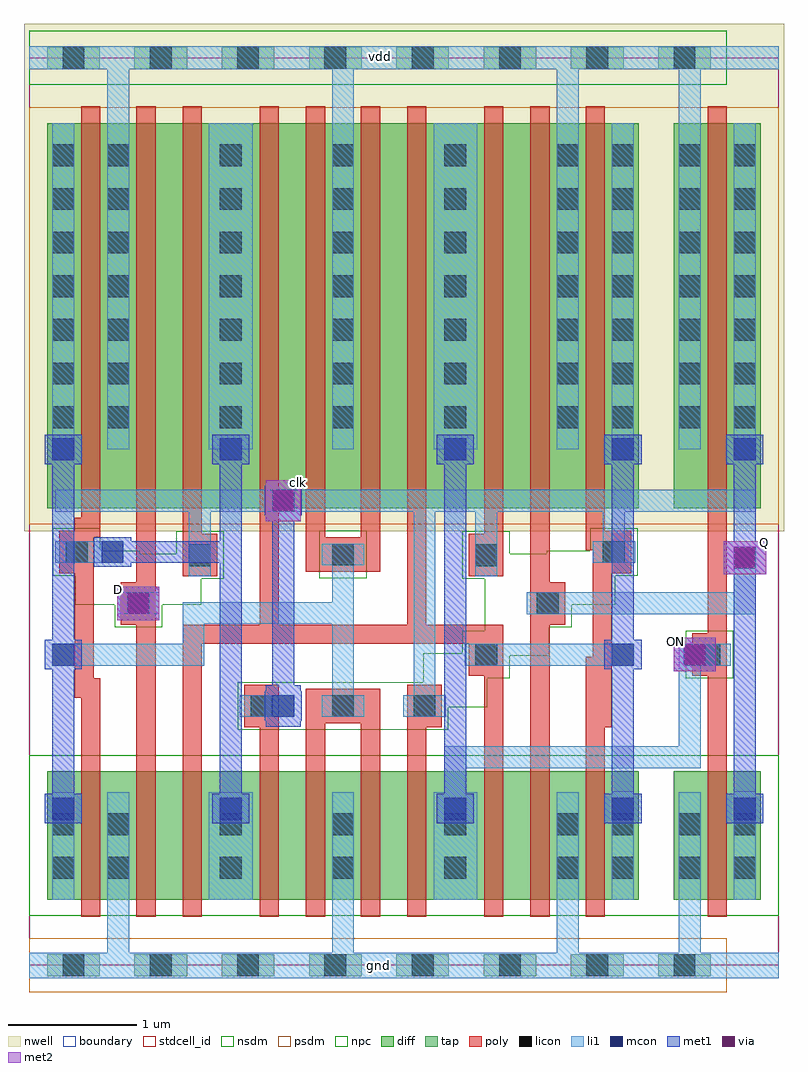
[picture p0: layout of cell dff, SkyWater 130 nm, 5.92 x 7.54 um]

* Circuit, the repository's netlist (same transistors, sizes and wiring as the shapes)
* SPICE3 file created from dff.ext - technology: EFS8A

.subckt dff D Q clk vdd gnd
M1000 a_511_725# a_n8_115# vdd vdd pshort W=3 L=0.15
M1001 a_353_115# clk a_11_624# gnd nshort W=1 L=0.15
M1002 a_353_725# a_203_89# a_11_624# vdd pshort W=3 L=0.15
M1003 a_11_624# a_203_89# a_161_115# gnd nshort W=1 L=0.15
M1004 a_11_624# clk a_161_725# vdd pshort W=3 L=0.15
M1005 gnd Q a_703_115# gnd nshort W=1 L=0.15
M1006 vdd Q a_703_725# vdd pshort W=3 L=0.15
M1007 a_203_89# clk gnd gnd nshort W=1 L=0.15
M1008 a_203_89# clk vdd vdd pshort W=3 L=0.15
M1009 a_161_115# D gnd gnd nshort W=1 L=0.15
M1010 a_161_725# D vdd vdd pshort W=3 L=0.15
M1011 gnd a_11_624# a_n8_115# gnd nshort W=1 L=0.15
M1012 a_703_115# a_203_89# ON gnd nshort W=1 L=0.15
M1013 vdd a_11_624# a_n8_115# vdd pshort W=3 L=0.15
M1014 a_703_725# clk ON vdd pshort W=3 L=0.15
M1015 Q ON vdd vdd pshort W=3 L=0.15
M1016 Q ON gnd gnd nshort W=1 L=0.15
M1017 ON a_203_89# a_511_725# vdd pshort W=3 L=0.15
M1018 ON clk a_511_115# gnd nshort W=1 L=0.15
M1019 gnd a_n8_115# a_353_115# gnd nshort W=1 L=0.15
M1020 vdd a_n8_115# a_353_725# vdd pshort W=3 L=0.15
M1021 a_511_115# a_n8_115# gnd gnd nshort W=1 L=0.15
.ends

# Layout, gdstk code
import gdstk
lib = gdstk.Library(unit=1e-6, precision=1e-09)
def R(c, l, rs):  # rectangles x0, y0, x1, y1
    for r in rs: c.add(gdstk.rectangle(r[:2], r[2:], *l))
def A(c, l, x, y, w, h, nx, ny, dx, dy):  # array of equal rectangles
    R(c, l, [(x+i*dx, y+j*dy, x+i*dx+w, y+j*dy+h) for i in range(nx) for j in range(ny)])
nwell = (64, 20)
diff = (65, 20)
tap = (65, 44)
poly = (66, 20)
licon = (66, 44)
li1 = (67, 20)
mcon = (67, 44)
met1 = (68, 20)
via = (68, 44)
met2 = (69, 20)
stdcell_id = (81, 4)
nsdm = (93, 44)
psdm = (94, 20)
npc = (95, 20)
boundary = (235, 4)

dff = lib.new_cell('dff')
R(dff, nwell, [(-0.04,3.38,5.88,7.335)])
R(dff, diff, [(0.14,0.51,4.75,1.51), (5.02,0.51,5.7,1.51), (0.14,3.56,4.75,6.56), (5.02,3.56,5.7,6.56)])
A(dff, tap, 0.14, -0.085, 0.41, 0.17, 8, 2, 0.68, 7.07)
R(dff, poly, [(0.405,0.38,0.555,2.085), (0.835,0.38,0.985,2.655), (1.195,0.38,1.345,2.505), (1.795,0.38,1.945,1.855), (2.155,0.38,2.305,1.885), (2.585,0.38,2.735,1.885), (2.945,0.38,3.095,1.855), (3.545,0.38,3.695,2.255), (3.905,0.38,4.055,2.655), (4.335,0.38,4.485,1.855), (5.285,0.38,5.435,2.255), (1.675,1.855,1.945,2.185), (2.945,1.855,3.215,2.185), (4.335,1.855,4.54,2.405), (2.155,1.885,2.735,2.155), (0.355,2.085,0.555,2.235), (0.355,2.235,0.505,3.055), (3.425,2.255,3.695,2.505), (5.165,2.255,5.435,2.585), (4.39,2.405,4.54,3.055), (1.195,2.505,3.695,2.655), (5.285,2.585,5.435,6.69), (0.715,2.655,0.985,2.985), (1.795,2.655,1.945,6.69), (2.945,2.655,3.095,6.69), (3.905,2.655,4.175,2.985), (0.835,2.985,0.985,6.69), (3.905,2.985,4.055,6.69), (1.195,3.03,1.465,3.36), (3.425,3.03,3.695,3.36), (0.235,3.055,0.505,3.335), (4.39,3.055,4.69,3.235), (2.155,3.065,2.735,3.335), (4.335,3.235,4.69,3.385), (0.235,3.335,0.555,3.385), (2.155,3.335,2.305,6.69), (2.585,3.335,2.735,6.69), (1.195,3.36,1.345,6.69), (3.545,3.36,3.695,6.69), (0.35,3.385,0.555,3.485), (4.335,3.385,4.485,6.69), (0.405,3.485,0.555,6.69)])
A(dff, licon, 0.26, -0.085, 0.17, 0.17, 8, 2, 0.68, 7.07)
A(dff, licon, 0.61, 0.675, 0.17, 0.17, 5, 2, 0.875, 0.34)
A(dff, licon, 1.725, 1.935, 0.17, 0.17, 3, 1, 0.635, 0)
A(dff, licon, 0.18, 4.185, 0.17, 0.17, 1, 7, 0, 0.34)
A(dff, licon, 0.61, 4.185, 0.17, 0.17, 5, 7, 0.875, 0.34)
A(dff, licon, 4.54, 4.185, 0.17, 0.17, 1, 7, 0, 0.34)
A(dff, licon, 5.06, 4.185, 0.17, 0.17, 1, 7, 0, 0.34)
A(dff, licon, 5.49, 4.185, 0.17, 0.17, 1, 7, 0, 0.34)
R(dff, licon, [(0.18,0.675,0.35,0.845), (4.54,0.675,4.71,0.845), (5.06,0.675,5.23,0.845), (5.49,0.675,5.66,0.845), (0.18,1.015,0.35,1.185), (4.54,1.015,4.71,1.185), (5.06,1.015,5.23,1.185), (5.49,1.015,5.66,1.185), (3.475,2.335,3.645,2.505), (5.215,2.335,5.385,2.505), (0.765,2.735,0.935,2.905), (3.955,2.735,4.125,2.905), (1.245,3.11,1.415,3.28), (3.475,3.11,3.645,3.28), (2.36,3.115,2.53,3.285), (0.285,3.135,0.455,3.305), (4.47,3.135,4.64,3.305)])
A(dff, li1, 0.61, 0.1, 0.17, 1.25, 3, 1, 1.75, 0)
A(dff, li1, 0.61, 4.02, 0.17, 2.96, 3, 1, 1.75, 0)
R(dff, li1, [(0,-0.1,5.84,0.1), (5.06,0.1,5.23,1.35), (0.18,0.51,0.35,1.35), (1.4,0.51,1.74,1.35), (3.15,0.51,3.49,1.35), (4.54,0.51,4.71,1.355), (5.49,0.51,5.66,1.355), (3.235,1.35,3.405,1.535), (3.235,1.535,5.23,1.705), (5.06,1.705,5.23,2.335), (1.64,1.935,2.065,2.105), (2.28,1.935,2.61,2.105), (2.915,1.935,3.245,2.105), (2.36,2.105,2.53,2.66), (2.995,2.105,3.165,3.535), (0.18,2.335,1.365,2.505), (3.395,2.335,4.71,2.505), (5.06,2.335,5.465,2.505), (1.195,2.505,1.365,2.66), (1.195,2.66,2.53,2.83), (0.685,2.735,1.015,2.905), (3.875,2.735,5.66,2.905), (2.36,2.83,2.53,3.115), (5.49,2.905,5.66,3.26), (1.245,3.03,1.415,3.535), (3.475,3.03,3.645,3.535), (2.28,3.115,2.61,3.285), (0.205,3.135,0.735,3.305), (4.39,3.135,4.72,3.305), (4.47,3.305,4.64,3.535), (0.205,3.535,5.66,3.705), (0.18,3.935,0.35,6.56), (1.485,3.935,1.655,4.02), (3.235,3.935,3.405,4.02), (4.54,3.935,4.71,6.56), (5.49,3.935,5.66,6.56), (1.4,4.02,1.74,6.56), (3.15,4.02,3.49,6.56), (5.06,4.02,5.23,6.98), (0,6.98,5.84,7.16)])
R(dff, mcon, [(0.18,1.135,0.35,1.305), (1.485,1.135,1.655,1.305), (3.235,1.135,3.405,1.305), (4.54,1.135,4.71,1.305), (5.49,1.135,5.66,1.305), (1.895,1.935,2.065,2.105), (0.18,2.335,0.35,2.505), (4.54,2.335,4.71,2.505), (5.1,2.335,5.27,2.505), (0.765,2.735,0.935,2.905), (5.49,3.09,5.66,3.26), (0.565,3.135,0.735,3.305), (1.895,3.535,2.065,3.705), (0.18,3.935,0.35,4.105), (1.485,3.935,1.655,4.105), (3.235,3.935,3.405,4.105), (4.54,3.935,4.71,4.105), (5.49,3.935,5.66,4.105)])
R(dff, met1, [(0.12,1.105,0.41,1.335), (1.425,1.105,1.715,1.335), (3.175,1.105,3.465,1.335), (4.48,1.105,4.77,1.335), (5.43,1.105,5.72,1.335), (0.18,1.335,0.35,2.305), (1.485,1.335,1.655,3.135), (3.235,1.335,3.405,3.905), (4.54,1.335,4.71,2.305), (5.49,1.335,5.66,3.045), (1.845,1.86,2.115,1.905), (1.835,1.905,2.125,2.135), (1.845,2.135,2.115,2.18), (1.895,2.18,2.065,3.46), (5.02,2.29,5.35,2.55), (0.12,2.305,0.41,2.535), (4.48,2.305,4.77,2.535), (0.18,2.535,0.35,3.905), (4.54,2.535,4.71,3.905), (0.685,2.69,1.015,2.95), (5.41,3.045,5.74,3.305), (0.505,3.105,0.795,3.135), (0.505,3.135,1.655,3.305), (0.505,3.305,0.795,3.335), (1.485,3.305,1.655,3.905), (5.49,3.305,5.66,3.905), (1.845,3.46,2.115,3.505), (1.835,3.505,2.125,3.735), (1.845,3.735,2.115,3.78), (0.12,3.905,0.41,4.135), (1.425,3.905,1.715,4.135), (3.175,3.905,3.465,4.135), (4.48,3.905,4.77,4.135), (5.43,3.905,5.72,4.135)])
R(dff, via, [(5.11,2.345,5.26,2.495), (0.775,2.745,0.925,2.895), (5.5,3.1,5.65,3.25), (1.905,3.545,2.055,3.695)])
R(dff, met2, [(5.02,2.29,5.35,2.55), (0.685,2.69,1.015,2.95), (5.41,3.045,5.74,3.305), (1.845,3.46,2.115,3.78)])
R(dff, stdcell_id, [(0,0,5.84,7.07)])
R(dff, nsdm, [(0,0.385,5.84,1.635), (0,6.86,5.435,7.07), (0,7.07,5.435,7.28)])
R(dff, psdm, [(0,-0.21,5.435,0), (0,0,5.435,0.21), (0,3.435,5.84,6.685)])
R(dff, npc, [(1.625,1.835,3.265,2.01), (1.625,2.01,3.57,2.205), (3.07,2.205,3.57,2.235), (3.07,2.235,3.745,2.41), (5.115,2.235,5.485,2.605), (3.07,2.41,4.05,2.43), (3.375,2.43,4.05,2.605), (3.55,2.605,4.05,2.635), (0.665,2.635,1.035,2.81), (3.55,2.635,4.225,2.81), (0.36,2.81,1.34,3.01), (3.55,2.81,4.565,3.01), (0.36,3.01,1.515,3.035), (3.375,3.01,4.565,3.035), (2.26,3.015,2.63,3.385), (0.185,3.035,1.515,3.205), (3.375,3.035,4.74,3.205), (0.185,3.205,0.86,3.23), (1.145,3.205,1.515,3.38), (3.375,3.205,3.745,3.38), (4.03,3.205,4.74,3.23), (0.185,3.23,0.555,3.405), (4.37,3.23,4.74,3.405)])
R(dff, boundary, [(0,0,5.84,7.07)])
dff.add(gdstk.Label('gnd', (2.72,0), layer=67, texttype=20))
dff.add(gdstk.Label('vdd', (2.74,7.08), layer=67, texttype=20))
dff.add(gdstk.Label('Q', (5.73,3.295), layer=69, texttype=16))
dff.add(gdstk.Label('clk', (2.095,3.765), layer=69, texttype=16))
dff.add(gdstk.Label('ON', (5.035,2.52), layer=69, texttype=16))
dff.add(gdstk.Label('D', (0.695,2.93), layer=69, texttype=16))

lib.write_gds('dff.gds')
